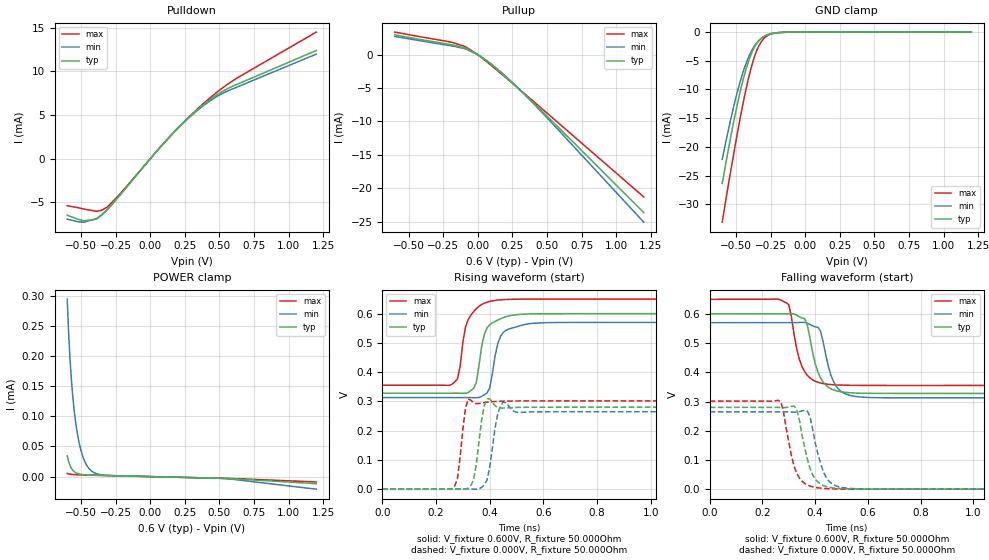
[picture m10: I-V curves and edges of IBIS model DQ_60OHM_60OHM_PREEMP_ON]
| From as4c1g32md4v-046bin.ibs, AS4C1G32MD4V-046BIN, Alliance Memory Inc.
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|   MODEL: DQ_60OHM_60OHM_PREEMP_ON
[Model]   DQ_60OHM_60OHM_PREEMP_ON
Model_type   I/O
Polarity   Non-Inverting
Enable   Active-High
Vinl   = 0.080V
Vinh   = 0.220V
Vmeas   = 0.150V
Vref   = 0.150V
Cref   = 0.000pF
Rref   = 50.000Ohm
|   typ   min   max
C_comp   0.875pF   0.788pF   0.963pF
[Voltage Range]   0.600V   0.570V   0.650V
[Temperature Range]   25.0   95.0   -40.0
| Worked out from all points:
|   slope of the pulldown table from 0 to 0.09 V, typ, clamps not added: 54.4 ohm
|   slope of the pullup table from 0 to 0.09 V, typ, clamps not added: 65.2 ohm
|   GND clamp passes 1 mA (typ) near -0.31 V on its own axis
|   rising waveform, V_fixture 0.600V, R_fixture 50.000Ohm: 20-80 % time 34.3ps typ, 35ps min, 38.7ps max; typ from 0.328 V to 0.6 V
|   falling waveform, V_fixture 0.600V, R_fixture 50.000Ohm: 20-80 % time 45.9ps typ, 45.8ps min, 43.8ps max; typ from 0.6 V to 0.328 V
|   rising waveform, V_fixture 0.000V, R_fixture 50.000Ohm: 20-80 % time 23.4ps typ, 25.4ps min, 21.7ps max; typ from 0 V to 0.28 V
|   falling waveform, V_fixture 0.000V, R_fixture 50.000Ohm: 20-80 % time 44.7ps typ, 45.9ps min, 43.5ps max; typ from 0.28 V to 0 V
[Pulldown]
|   Voltage   I(typ)   I(min)   I(max)
-600mV    -6.451mA   -6.91mA    -5.37mA
-480mV    -7.091mA   -7.252mA   -5.751mA
-390mV    -6.903mA   -6.859mA   -6.003mA
-350mV    -6.461mA   -6.397mA   -5.886mA
-310mV    -5.839mA   -5.785mA   -5.511mA
-230mV    -4.373mA   -4.344mA   -4.23mA
130mV     2.356mA    2.327mA    2.329mA
270mV     4.616mA    4.546mA    4.626mA
400mV     6.396mA    6.262mA    6.534mA
490mV     7.402mA    7.198mA    7.709mA
580mV     8.186mA    7.891mA    8.746mA
1.2V      12.38mA    11.97mA    14.49mA
[Pullup]
|   Voltage   I(typ)   I(min)   I(max)
-600mV    2.969mA    2.718mA    3.369mA
-180mV    1.446mA    1.278mA    1.805mA
-100mV    1.041mA    915.1uA    1.27mA
0V        0A         0A         0A
70mV      -1.054mA   -969.1uA   -1.157mA
210mV     -3.5mA     -3.4mA     -3.575mA
400mV     -7.175mA   -7.266mA   -6.946mA
1.2V      -23.62mA   -25.07mA   -21.3mA
[GND Clamp]
|   Voltage   I(typ)   I(min)   I(max)
-600mV    -26.36mA   -22.19mA   -33.14mA
-550mV    -19.73mA   -16.43mA   -25.84mA
-510mV    -14.79mA   -12.27mA   -20.24mA
-470mV    -10.36mA   -8.615mA   -14.96mA
-430mV    -6.627mA   -5.609mA   -10.17mA
-390mV    -3.805mA   -3.349mA   -6.151mA
-360mV    -2.341mA   -2.151mA   -3.819mA
-320mV    -1.14mA    -1.122mA   -1.755mA
-280mV    -524.1uA   -555.5uA   -715.7uA
-230mV    -184.4uA   -215.6uA   -213.3uA
-140mV    -20.29uA   -29.99uA   -17.96uA
1.2V      6.836uA    7.386uA    6.714uA
[POWER Clamp]
|   Voltage   I(typ)   I(min)   I(max)
-600mV    34.27uA    294.1uA    5.169uA
-590mV    25uA       238.9uA    4.47uA
-570mV    13.84uA    160.6uA    3.674uA
-560mV    10.58uA    132.6uA    3.444uA
-540mV    6.655uA    91.24uA    3.146uA
-520mV    4.678uA    62.84uA    2.957uA
-490mV    3.339uA    35.2uA     2.748uA
-460mV    2.772uA    19.1uA     2.569uA
-420mV    2.39uA     8.47uA     2.342uA
-300mV    1.671uA    1.938uA    1.671uA
560mV     -3.13uA    -3.595uA   -3.086uA
1.2V      -11.8uA    -20.82uA   -8.926uA
[Ramp]
R_load = 50.000Ohm
|   typ   min   max
dV/dt_r   0.163V/30.000ps   0.154V/30.000ps   0.177V/40.000ps
dV/dt_f   0.163V/40.000ps   0.154V/50.000ps   0.177V/50.000ps
|Slew_r   5.447V/ns   5.148V/ns   4.425V/ns
|Slew_f   4.083V/ns   3.087V/ns   3.538V/ns
[Rising Waveform]
V_fixture = 0.600V
V_fixture_min = 0.570V
V_fixture_max = 0.650V
R_fixture = 50.000Ohm
L_fixture = 0.000nH
C_fixture = 0.000pF
|dV/dt_r   0.163V/30.000ps   0.154V/30.000ps   0.177V/40.000ps
|Slew_r   5.447V/ns   5.148V/ns   4.425V/ns
|   Time   V(typ)   V(min)   V(max)
0s        327.6mV    312.6mV    355mV
260ps     327.7mV    312.6mV    358.8mV
280ps     327.8mV    312.6mV    376.7mV
320ps     330.5mV    312.8mV    580.1mV
350ps     363.9mV    312.2mV    617mV
390ps     551.2mV    328.6mV    639.4mV
430ps     577.8mV    497.5mV    646.5mV
450ps     586.2mV    535.6mV    648mV
660ps     599.9mV    569.8mV    650mV
5ns       600mV      570mV      650mV
[Falling Waveform]
V_fixture = 0.600V
V_fixture_min = 0.570V
V_fixture_max = 0.650V
R_fixture = 50.000Ohm
L_fixture = 0.000nH
C_fixture = 0.000pF
|dV/dt_f   0.163V/40.000ps   0.154V/50.000ps   0.177V/50.000ps
|Slew_f   4.083V/ns   3.087V/ns   3.538V/ns
|   Time   V(typ)   V(min)   V(max)
0s        599.9mV    569.9mV    649.9mV
290ps     600.3mV    570mV      638.5mV
300ps     600.8mV    570mV      631.2mV
330ps     595.7mV    570.3mV    480.5mV
360ps     583.8mV    570.8mV    402.4mV
420ps     381.9mV    542.1mV    363.5mV
470ps     339.8mV    367.7mV    357.3mV
520ps     330.9mV    324.3mV    355.7mV
650ps     327.8mV    313mV      355mV
5ns       327.7mV    312.6mV    355mV
[Rising Waveform]
V_fixture = 0.000V
V_fixture_min = 0.000V
V_fixture_max = 0.000V
R_fixture = 50.000Ohm
L_fixture = 0.000nH
C_fixture = 0.000pF
|dV/dt_r   0.168V/20.000ps   0.159V/30.000ps   0.181V/20.000ps
|Slew_r   8.396V/ns   5.288V/ns   9.041V/ns
|   Time   V(typ)   V(min)   V(max)
0s        4.916uV    14.6uV     2.082uV
270ps     101.8uV    15.27uV    10.39mV
320ps     3.318mV    -13.33uV   307.6mV
340ps     30.84mV    -553.8uV   294.8mV
380ps     285.8mV    14.05mV    295.6mV
400ps     308.8mV    74.76mV    297.9mV
430ps     278.7mV    257.4mV    299.8mV
450ps     276.9mV    296.8mV    300.4mV
510ps     279.2mV    261.9mV    301.2mV
5ns       279.9mV    264.4mV    301.4mV
[Falling Waveform]
V_fixture = 0.000V
V_fixture_min = 0.000V
V_fixture_max = 0.000V
R_fixture = 50.000Ohm
L_fixture = 0.000nH
C_fixture = 0.000pF
|dV/dt_f   0.168V/40.000ps   0.159V/50.000ps   0.181V/40.000ps
|Slew_f   4.197V/ns   3.172V/ns   4.520V/ns
|   Time   V(typ)   V(min)   V(max)
0s        279.8mV    264.4mV    301.3mV
270ps     279.6mV    264.5mV    297.9mV
320ps     284.1mV    263.8mV    78.7mV
330ps     273.3mV    264.1mV    54.51mV
380ps     72.61mV    249.2mV    10.74mV
410ps     24.52mV    121.7mV    4.742mV
440ps     9.354mV    43.08mV    2.242mV
490ps     2.465mV    8.103mV    656.2uV
610ps     295.3uV    455.7uV    78.47uV
5ns       5.441uV    15.09uV    2.62uV
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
